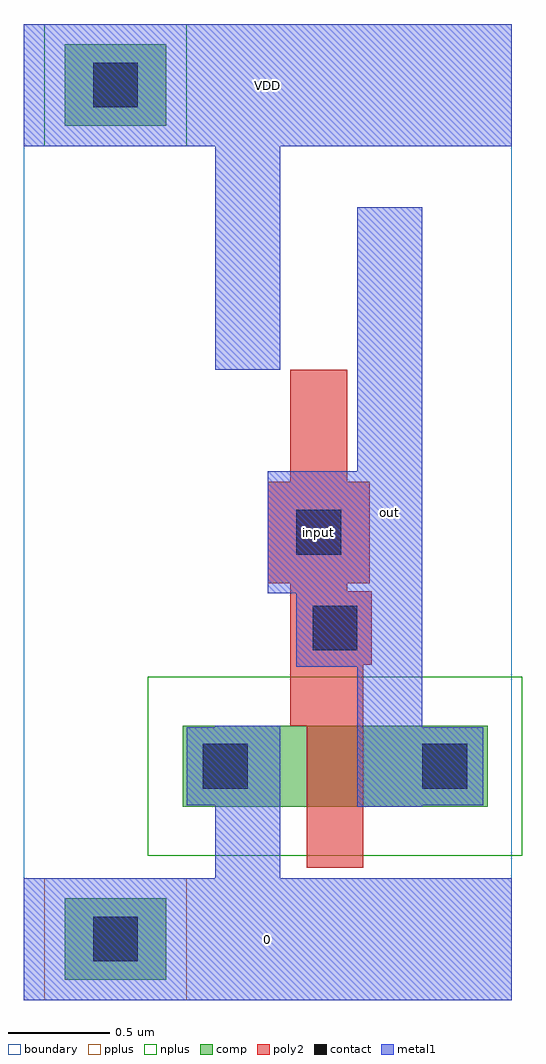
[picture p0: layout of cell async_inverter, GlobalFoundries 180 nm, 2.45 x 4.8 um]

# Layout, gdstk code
import gdstk
lib = gdstk.Library(unit=1e-6, precision=1e-09)
def R(c, l, rs):  # rectangles x0, y0, x1, y1
    for r in rs: c.add(gdstk.rectangle(r[:2], r[2:], *l))
boundary = (0, 0)
comp = (22, 0)
poly2 = (30, 0)
pplus = (31, 0)
nplus = (32, 0)
contact = (33, 0)
metal1 = (34, 0)

pfet = lib.new_cell('pfet')

nfet = lib.new_cell('nfet')
R(nfet, comp, [(-0.42,0,0,0.4), (0,0,0.66,0.4), (0.66,0,1.08,0.4)])
R(nfet, poly2, [(0.19,-0.3,0.47,0.7), (0.15,0.7,0.51,1.06)])
R(nfet, nplus, [(-0.59,-0.24,1.25,0.64)])
R(nfet, contact, [(-0.32,0.09,-0.1,0.31), (0.76,0.09,0.98,0.31), (0.22,0.77,0.44,0.99)])
R(nfet, metal1, [(-0.4,0.009,-0.02,0.391), (0.68,0.009,1.06,0.391), (0.14,0.689,0.52,1.071)])

async_inverter = lib.new_cell('async_inverter')
R(async_inverter, boundary, [(0,0,2.4,4.8)])
R(async_inverter, comp, [(0.2,0.1,0.7,0.5), (0.2,4.3,0.7,4.7)])
R(async_inverter, poly2, [(1.31,1.35,1.59,3.1), (1.2,2.05,1.7,2.55)])
R(async_inverter, pplus, [(0.1,0,0.8,0.6)])
R(async_inverter, nplus, [(0.1,4.2,0.8,4.8)])
R(async_inverter, contact, [(0.34,0.19,0.56,0.41), (1.34,2.19,1.56,2.41), (0.34,4.39,0.56,4.61)])
R(async_inverter, metal1, [(0,0,2.4,0.6), (0.94,0.4,1.26,1.35), (1.64,0.95,1.96,3.9), (1.2,2,1.7,2.6), (0.94,3.1,1.26,4.4), (0,4.2,2.4,4.8)])
async_inverter.add(gdstk.Reference(pfet, (1.2,3.1)))
async_inverter.add(gdstk.Reference(nfet, (1.2,0.95)))
async_inverter.add(gdstk.Label('0', (1.2,0.3), layer=34, texttype=10))
async_inverter.add(gdstk.Label('VDD', (1.2,4.5), layer=34, texttype=10))
async_inverter.add(gdstk.Label('input', (1.45,2.3), layer=34, texttype=10))
async_inverter.add(gdstk.Label('out', (1.8,2.4), layer=34, texttype=10))

lib.write_gds('async_inverter.gds')
